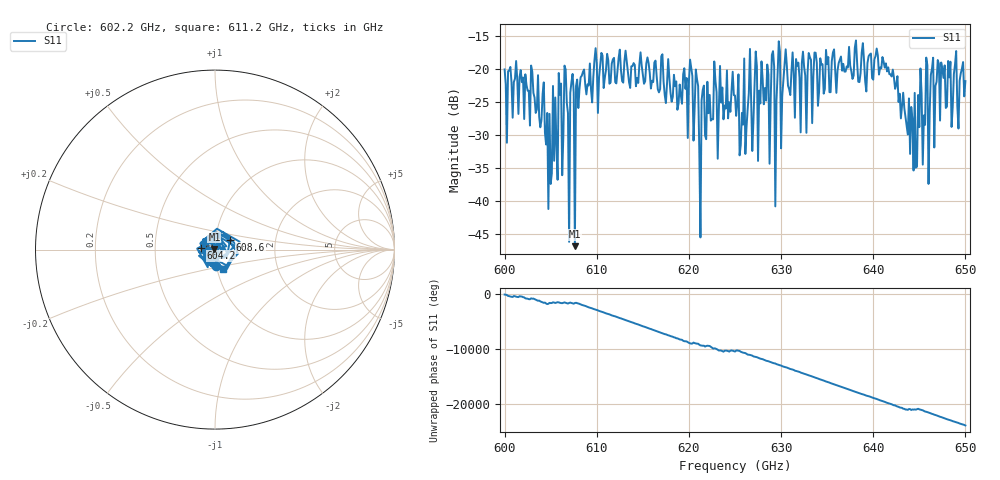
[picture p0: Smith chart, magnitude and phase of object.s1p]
!Created with skrf (http://scikit-rf.org).
# GHz S MA R 50.0
!freq magS11 angS11
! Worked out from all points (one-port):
!   401 points, 600 GHz to 650 GHz, reference 50 ohm
!   lowest |S11| = -46.9 dB at 607.6 GHz (marker M1), VSWR 1.01, Z = 49.7 + j0.308 ohm
!   |S11| at or under -10 dB: start of sweep to end of sweep
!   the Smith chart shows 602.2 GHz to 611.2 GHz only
!   S11 on the Smith chart (normalised r, x): 602.2 GHz: 1.00, -0.18; 604.2 GHz: 0.85, +0.02; 608.6 GHz: 1.18, +0.13; 611.2 GHz: 1.07, -0.23
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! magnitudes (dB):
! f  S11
! 600 GHz  -20.1
! 602.2 GHz  -20.8
! 604.2 GHz  -22.0
! 604.9 GHz  -26.8
! 606.2 GHz  -36.1
! 607.6 GHz  -46.9
! 607.9 GHz  -21.6
! 608.6 GHz  -20.1
! 611.2 GHz  -18.7
! 612.5 GHz  -17.1
! 618.8 GHz  -26.2
! 620.2 GHz  -19.9
! 620.9 GHz  -21.5
! 621.2 GHz  -45.5
! 622.8 GHz  -18.8
! 625 GHz  -24.0
! 625.6 GHz  -31.5
! 626.5 GHz  -23.6
! 629.4 GHz  -40.8
! 630.5 GHz  -17.0
! 631.2 GHz  -17.5
! 637.5 GHz  -19.5
! 641.2 GHz  -19.8
! 643.8 GHz  -29.9
! 644.5 GHz  -23.6
! 645 GHz  -28.8
! 647.2 GHz  -27.8
! 650 GHz  -21.8
